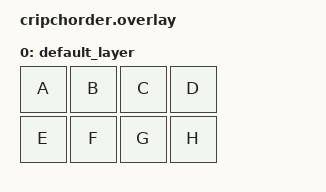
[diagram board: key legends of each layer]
// this file is for the device tree overlay = physical layout and keys

/ {
    chosen {
        // chosen is a reserved node where you tell ZMK which keyboard to use.
        zmk,keyboard = &cripchorder;
    };

    // Define the keyboard node
    // this is for the Paintbrush PCB, which has 8 keys in two rows and 4 columns
    cripchorder {
        compatible = "zmk,keyboard";
        diode-direction = COL2ROW;

        // matrix-row-pins: the 2 physical rows of the Paintbrush PCB
        // each entry is a GPIO controller reference (&gpioX) and a pin number
        matrix-row-pins = <&gpio0 4 &gpio0 5>;

        // matrix-col-pins: the 4 physical columns of the Paintbrush PCB
        matrix-col-pins = <&gpio0 6 &gpio0 7 &gpio1 1 &gpio1 2>;

        // Optional if you have haptic or other features
        // features = <&haptic>;
    };

    // OLED display
    &i2c1 {
        // &i2c1: This is the hardware I²C bus on the Nice!Nano.
        // I²C stands for Inter-Integrated Circuit.
        // It’s pronounced “I-squared-C” or just “I-two-C”.
        // It is a way for small chips (like displays or sensors) to talk to the microcontroller.
        // It also is a communication protocol.
        // It uses only two wires: SCL (clock signal) and SDA (data signal)
        // Think of it as a tiny network of devices on your keyboard:
        // The Nice!Nano is the master, the OLED screen is the slave device.
        // The OLED display gets power (VCC=voltage + GND=0), and talks via I²C using SDA and SCL.

        status = "okay";

        // SDA is the data line (connected to P0.02 on Nice!Nano v2)
        sda-pin = <2>;

        // SCL is the clock line (connected to P0.03 on Nice!Nano v2)
        scl-pin = <3>;

        clock-frequency = <I2C_BITRATE_FAST>; // This sets the speed of communication, you could also use STANDARD or FAST_PLUS.

        oled@3c {
            // this defines a display device at I²C address 0x3C , which is the default for most SSD1306 OLEDs
            compatible = "solomon,ssd1306fb"; // This tells ZMK that it’s an SSD1306-based OLED.
            reg = <0x3c>;
            width = <128>;
            height = <32>;
            // width and height set the resolution of the display.
            // This is standard for many small OLEDs.
        };
    };
};

    // this is the part of the programme where you define what the ouput of the 8 keys wille be when you just press them
    // The Keymap node defines what each physical key does
    // Basic keymap for testing: A–H in reading order
    keymap {
        compatible = "zmk,keymap";

        default_layer { // also works with 'base_layer'
            bindings = <
                &kp A &kp B &kp C &kp D
                &kp E &kp F &kp G &kp H
            >;
        };
    };

};

